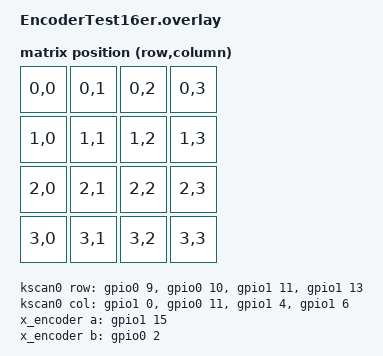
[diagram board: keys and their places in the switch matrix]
#include <dt-bindings/zmk/matrix_transform.h>

/ {
    chosen {
        zmk,kscan = &kscan0;
        //zmk,matrix_transform = &default_transform;
    };

    default_transform: keymap_transform_0 {
        compatible = "zmk,matrix-transform";
        columns = <4>;
        rows = <4>;
        map = <
            RC(0,0) RC(0,1) RC(0,2) RC(0,3)
            RC(1,0) RC(1,1) RC(1,2) RC(1,3)
            RC(2,0) RC(2,1) RC(2,2) RC(2,3)
            RC(3,0) RC(3,1) RC(3,2) RC(3,3)
        >;
    };

    kscan0: kscan {
        compatible = "zmk,kscan-gpio-matrix";
        //label = "KSCAN";

        diode-direction = "row2col";
        row-gpios
            = <&gpio0  9 GPIO_ACTIVE_HIGH> // D10
            , <&gpio0 10 GPIO_ACTIVE_HIGH> // D16
            , <&gpio1 11 GPIO_ACTIVE_HIGH> // D14
            , <&gpio1 13 GPIO_ACTIVE_HIGH> // D15
            ;

        col-gpios
            = <&gpio1  0 (GPIO_ACTIVE_HIGH | GPIO_PULL_DOWN)> // D6
            , <&gpio0 11 (GPIO_ACTIVE_HIGH | GPIO_PULL_DOWN)> // D7
            , <&gpio1  4 (GPIO_ACTIVE_HIGH | GPIO_PULL_DOWN)> // D8
            , <&gpio1  6 (GPIO_ACTIVE_HIGH | GPIO_PULL_DOWN)> // D9
            ;
    };

    x_encoder: encoder_left {
        compatible = "alps,ec11";
        a-gpios = <&gpio1  15 (GPIO_ACTIVE_HIGH | GPIO_PULL_UP)>;
        b-gpios = <&gpio0   2 (GPIO_ACTIVE_HIGH | GPIO_PULL_UP)>;
        resolution = <2>;
        steps = <2>;
    };


    sensors: sensors {
        compatible = "zmk,keymap-sensors";
        sensors = <&x_encoder>;
        triggers-per-rotation = <2>;
    };
};
